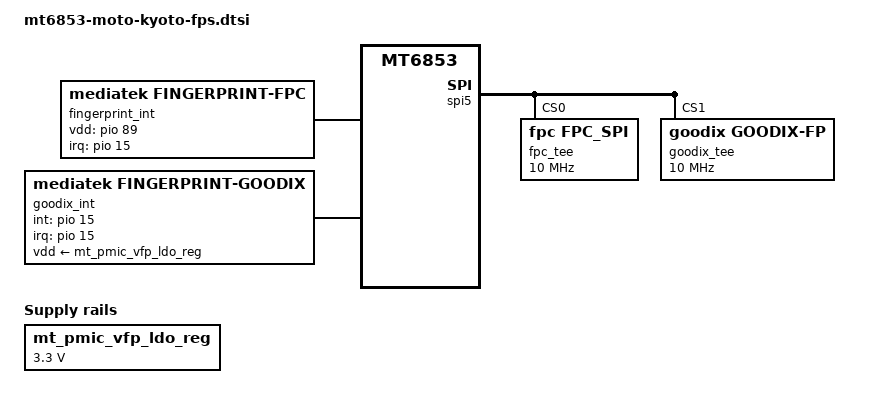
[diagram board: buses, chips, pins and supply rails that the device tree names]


&pio {
	fingerprint_irq: fingerprint_irq {
		pins_cmd_dat {
			pinmux = <PINMUX_GPIO15__FUNC_GPIO15>;
			slew-rate = <0>;
			bias-disable;
		};
	};

	fingerprint_reset_high: fingerprint_reset_high {
		pins_cmd_dat {
			pinmux = <PINMUX_GPIO47__FUNC_GPIO47>;
			slew-rate = <1>;
			output-high;
		};
	};

	fingerprint_reset_low: fingerprint_reset_low {
		pins_cmd_dat {
			pinmux = <PINMUX_GPIO47__FUNC_GPIO47>;
			slew-rate = <1>;
			output-low;
		};
	};
	fingerprint_ldo1p8_high: fingerprint_ldo1p8_high {
		pins_cmd_dat {
			pinmux = <PINMUX_GPIO89__FUNC_GPIO89>;
			slew-rate = <1>;
			output-high;
		};
	};

	fingerprint_ldo1p8_low: fingerprint_ldo1p8_low {
		pins_cmd_dat {
			pinmux = <PINMUX_GPIO89__FUNC_GPIO89>;
			slew-rate = <1>;
			output-low;
		};
	};

	/*fingerprint_ldo3p3_high: fingerprint_ldo3p3_high {
		pins_cmd_dat {
			pinmux = <PINMUX_GPIO87__FUNC_GPIO87>;
			slew-rate = <1>;
			output-high;
		};
	};

	fingerprint_ldo3p3_low: fingerprint_ldo3p3_low {
		pins_cmd_dat {
			pinmux = <PINMUX_GPIO87__FUNC_GPIO87>;
			slew-rate = <1>;
			output-low;
		};
	};*/
};

&odm {
	fingerprint_int: fingerprint_int {
		compatible = "mediatek,fingerprint-fpc";
		fpc,enable-wakeup;
		interrupt-parent = <&pio>;
		interrupts = <15 IRQ_TYPE_EDGE_RISING 15 0>;
		pinctrl-names = "fingerprint_irq", "fingerprint_reset_high", "fingerprint_reset_low";
		pinctrl-0 = <&fingerprint_irq>;
		pinctrl-1 = <&fingerprint_reset_high>;
		pinctrl-2 = <&fingerprint_reset_low>;
		fpc,vdd= <&pio 89 0>;
		fpc,irq = <&pio 15 0>;
		status = "okay";
	};
	goodix_int: goodix_int {
		compatible = "mediatek,fingerprint-goodix";
		interrupt-parent = <&pio>;
		interrupts = <15 IRQ_TYPE_EDGE_RISING 15 0>;
		pinctrl-names = "fingerprint_irq", "fingerprint_reset_high", "fingerprint_reset_low";
		pinctrl-0 = <&fingerprint_irq>;
		pinctrl-1 = <&fingerprint_reset_high>;
		pinctrl-2 = <&fingerprint_reset_low>;
		int-gpios = <&pio 15 0>;
		rgltr-ctrl-support;
		fp,vdd-supply=<&mt_pmic_vfp_ldo_reg>;
		fp,voltage-range = <3300000 3300000>;
		status = "okay";
	};
};
/* 1.8v */
/* &mt_pmic_vio18_ldo_reg {
	regulator-boot-on;
	regulator-always-on;
}; */
/* 3.3v */
&mt_pmic_vfp_ldo_reg {
	regulator-min-microvolt = <3300000>;
	regulator-max-microvolt = <3300000>;
	//regulator-boot-on;
	//regulator-always-on;
};
&spi5 {
	#address-cells = <1>;
	#size-cells = <0>;
	mediatek,pad-select = <0>, <1>;
	tee-only;
	fpc_tee@0 {
		compatible = "fpc,fpc_spi";
		reg = <0>;
		fpc,enable-wakeup;
		spi-max-frequency = <10000000>;
		netlink-event = <31>;
		status = "okay";
	};
	goodix_tee@1 {
		status = "okay";
		compatible = "goodix,goodix-fp";
		reg = <1>;
		spi-max-frequency = <10000000>;
		netlink-event = <30>;
	};
};
